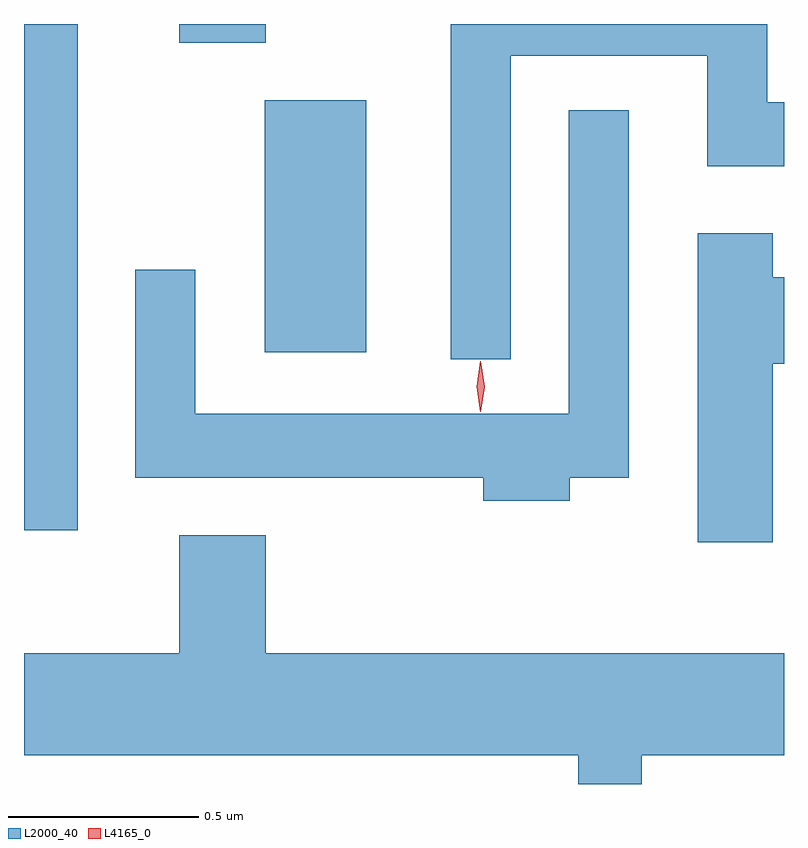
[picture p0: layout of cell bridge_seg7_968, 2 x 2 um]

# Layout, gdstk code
import gdstk
lib = gdstk.Library(unit=1e-6, precision=1e-09)
def R(c, l, rs):  # rectangles x0, y0, x1, y1
    for r in rs: c.add(gdstk.rectangle(r[:2], r[2:], *l))
def P(c, l, *ps):  # polygons
    for p in ps: c.add(gdstk.Polygon(p, *l))
L2000_40 = (2000, 40)
L4165_0 = (4165, 0)

bridge_seg7_968 = lib.new_cell('bridge_seg7_968')
R(bridge_seg7_968, L2000_40, [(590.923,1730.448,591.064,1731.78), (591.556,1730.916,591.824,1731.579), (591.331,1731.731,591.559,1731.78)])
P(bridge_seg7_968, L2000_40, [(592.204,1731.696),(592.721,1731.696),(592.721,1731.406),(592.923,1731.406),(592.923,1731.574),(592.879,1731.574),(592.879,1731.78),(592.046,1731.78),(592.046,1730.898),(592.204,1730.898)],
  [(592.359,1730.586),(592.514,1730.586),(592.514,1731.553),(592.356,1731.553),(592.356,1730.754),(591.374,1730.754),(591.374,1731.133),(591.216,1731.133),(591.216,1730.586),(592.131,1730.586),(592.131,1730.526),(592.359,1730.526)],
  [(592.894,1730.886),(592.923,1730.886),(592.923,1731.114),(592.894,1731.114),(592.894,1731.229),(592.696,1731.229),(592.696,1730.416),(592.894,1730.416)],
  [(592.549,1729.856),(592.923,1729.856),(592.923,1730.124),(591.559,1730.124),(591.559,1730.434),(591.331,1730.434),(591.331,1730.124),(590.923,1730.124),(590.923,1729.856),(592.381,1729.856),(592.381,1729.78),(592.549,1729.78)])
P(bridge_seg7_968, L4165_0, [(592.125,1730.759),(592.124,1730.76),(592.115,1730.826),(592.124,1730.892),(592.125,1730.893),(592.125,1730.892),(592.135,1730.826),(592.125,1730.76)])

lib.write_gds('bridge_seg7_968.gds')
